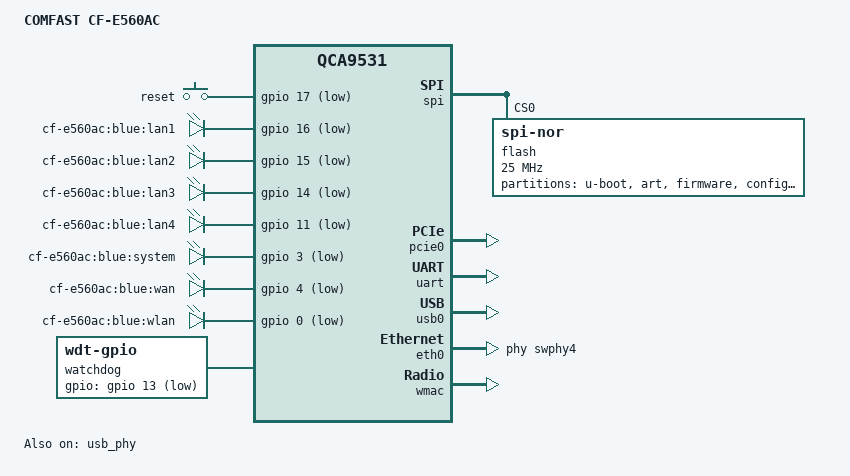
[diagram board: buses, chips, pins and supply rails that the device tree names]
// SPDX-License-Identifier: GPL-2.0-or-later OR MIT
/dts-v1/;

#include <dt-bindings/gpio/gpio.h>
#include <dt-bindings/input/input.h>

#include "qca953x.dtsi"

/ {
	compatible = "comfast,cf-e560ac", "qca,qca9531";
	model = "COMFAST CF-E560AC";

	aliases {
		serial0 = &uart;
		label-mac-device = &eth1;
		led-boot = &led_system;
		led-failsafe = &led_system;
		led-upgrade = &led_system;
	};

	keys {
		compatible = "gpio-keys";

		reset {
			label = "reset";
			linux,code = <KEY_RESTART>;
			gpios = <&gpio 17 GPIO_ACTIVE_LOW>;
			debounce-interval = <60>;
		};
	};

	leds {
		compatible = "gpio-leds";

		pinctrl-names = "default";
		pinctrl-0 = <&jtag_disable_pins>;

		lan1 {
			label = "cf-e560ac:blue:lan1";
			gpios = <&gpio 16 GPIO_ACTIVE_LOW>;
		};

		lan2 {
			label = "cf-e560ac:blue:lan2";
			gpios = <&gpio 15 GPIO_ACTIVE_LOW>;
		};

		lan3 {
			label = "cf-e560ac:blue:lan3";
			gpios = <&gpio 14 GPIO_ACTIVE_LOW>;
		};

		lan4 {
			label = "cf-e560ac:blue:lan4";
			gpios = <&gpio 11 GPIO_ACTIVE_LOW>;
		};

		led_system: system {
			label = "cf-e560ac:blue:system";
			gpios = <&gpio 3 GPIO_ACTIVE_LOW>;
		};

		wan {
			label = "cf-e560ac:blue:wan";
			gpios = <&gpio 4 GPIO_ACTIVE_LOW>;
		};

		wlan {
			label = "cf-e560ac:blue:wlan";
			gpios = <&gpio 0 GPIO_ACTIVE_LOW>;
			linux,default-trigger = "phy0tpt";
		};
	};

	watchdog {
		compatible = "linux,wdt-gpio";
		gpios = <&gpio 13 GPIO_ACTIVE_LOW>;
		hw_algo = "toggle";
		hw_margin_ms = <1200>;
		always-running;
	};
};

&spi {
	status = "okay";

	num-cs = <1>;

	flash@0 {
		compatible = "jedec,spi-nor";
		reg = <0>;
		spi-max-frequency = <25000000>;

		partitions {
			compatible = "fixed-partitions";
			#address-cells = <1>;
			#size-cells = <1>;

			partition@0 {
				label = "u-boot";
				reg = <0x000000 0x010000>;
				read-only;
			};

			art: partition@10000 {
				label = "art";
				reg = <0x010000 0x010000>;
				read-only;
			};

			partition@20000 {
				compatible = "denx,uimage";
				label = "firmware";
				reg = <0x020000 0xfc0000>;
			};

			partition@fe0000 {
				label = "configs";
				reg = <0xfe0000 0x010000>;
				read-only;
			};

			partition@ff0000 {
				label = "nvram";
				reg = <0xff0000 0x010000>;
				read-only;
			};
		};
	};
};

&pcie0 {
	status = "okay";
};

&uart {
	status = "okay";
};

&usb_phy {
	status = "okay";
};

&usb0 {
	#address-cells = <1>;
	#size-cells = <0>;
	status = "okay";

	port@1 {
		reg = <1>;
		#trigger-source-cells = <0>;
	};
};

&eth0 {
	status = "okay";

	phy-handle = <&swphy4>;

	mtd-mac-address = <&art 0x0>;
	mtd-mac-address-increment = <1>;
};

&eth1 {
	mtd-mac-address = <&art 0x0>;
};

&wmac {
	status = "okay";

	mtd-cal-data = <&art 0x1000>;
	mtd-mac-address = <&art 0x0>;
	mtd-mac-address-increment = <10>;
};
